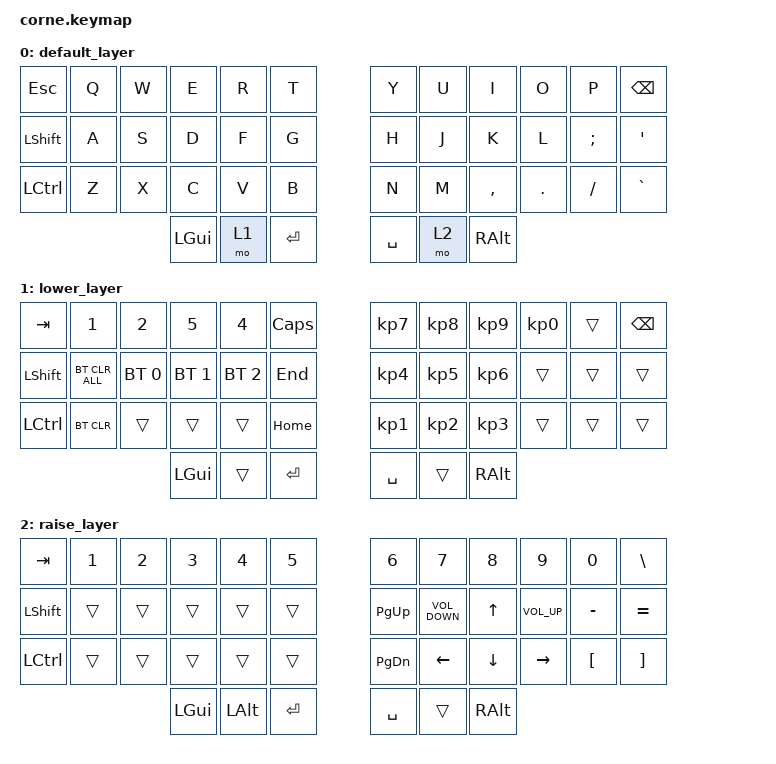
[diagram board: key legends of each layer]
/*
 * Copyright (c) 2020 The ZMK Contributors
 *
 * SPDX-License-Identifier: MIT
 */

#include <behaviors.dtsi>
#include <dt-bindings/zmk/bt.h>
#include <dt-bindings/zmk/keys.h>

/ {
    keymap {
        compatible = "zmk,keymap";

        default_layer {
            // -----------------------------------------------------------------------------------------
            // |  TAB |  Q  |  W  |  E  |  R  |  T  |   |  Y  |  U   |  I  |  O  |  P  | BSPC |
            // | CTRL |  A  |  S  |  D  |  F  |  G  |   |  H  |  J   |  K  |  L  |  ;  |  '   |
            // | SHFT |  Z  |  X  |  C  |  V  |  B  |   |  N  |  M   |  ,  |  .  |  /  | ESC  |
            //                    | GUI | LWR | SPC |   | ENT | RSE  | ALT |

            bindings = <
&kp ESCAPE      &kp Q  &kp W  &kp E     &kp R  &kp T        &kp Y      &kp U  &kp I      &kp O    &kp P     &kp BSPC
&kp LEFT_SHIFT  &kp A  &kp S  &kp D     &kp F  &kp G        &kp H      &kp J  &kp K      &kp L    &kp SEMI  &kp SQT
&kp LCTRL       &kp Z  &kp X  &kp C     &kp V  &kp B        &kp N      &kp M  &kp COMMA  &kp DOT  &kp FSLH  &kp GRAVE
                              &kp LGUI  &mo 1  &kp ENTER    &kp SPACE  &mo 2  &kp RALT
            >;
        };

        lower_layer {
            // -----------------------------------------------------------------------------------------
            // |  TAB |  1  |  2  |  3  |  4  |  5  |   |  6  |  7  |  8  |  9  |  0  | BSPC |
            // | BTCLR| BT1 | BT2 | BT3 | BT4 | BT5 |   | LFT | DWN |  UP | RGT |     |      |
            // | SHFT |     |     |     |     |     |   |     |     |     |     |     |      |
            //                    | GUI |     | SPC |   | ENT |     | ALT |

            bindings = <
&kp TAB         &kp N1          &kp N2        &kp N5        &kp N4        &kp CAPS     &kp KP_NUMBER_7  &kp KP_NUMBER_8  &kp KP_NUMBER_9  &kp KP_NUMBER_0  &trans  &kp BSPC
&kp LEFT_SHIFT  &bt BT_CLR_ALL  &bt BT_SEL 0  &bt BT_SEL 1  &bt BT_SEL 2  &kp END      &kp KP_NUMBER_4  &kp KP_NUMBER_5  &kp KP_NUMBER_6  &trans           &trans  &trans
&kp LCTRL       &bt BT_CLR      &trans        &trans        &trans        &kp HOME     &kp KP_NUMBER_1  &kp KP_NUMBER_2  &kp KP_NUMBER_3  &trans           &trans  &trans
                                              &kp LGUI      &trans        &kp ENTER    &kp SPACE        &trans           &kp RALT
            >;
        };

        raise_layer {
            // -----------------------------------------------------------------------------------------
            // |  TAB |  !  |  @  |  #  |  $  |  %  |   |  ^  |  &  |  *  |  (  |  )  | BSPC |
            // | CTRL |     |     |     |     |     |   |  -  |  =  |  [  |  ]  |  \  |  `   |
            // | SHFT |     |     |     |     |     |   |  _  |  +  |  {  |  }  | "|" |  ~   |
            //                    | GUI |     | SPC |   | ENT |     | ALT |

            bindings = <
&kp TAB         &kp NUMBER_1  &kp NUMBER_2  &kp NUMBER_3  &kp NUMBER_4  &kp N5       &kp NUMBER_6   &kp N7             &kp N8        &kp N9           &kp N0            &kp BACKSLASH
&kp LEFT_SHIFT  &trans        &trans        &trans        &trans        &trans       &kp PAGE_UP    &kp C_VOLUME_DOWN  &kp UP_ARROW  &kp C_VOLUME_UP  &kp MINUS         &kp EQUAL
&kp LCTRL       &trans        &trans        &trans        &trans        &trans       &kp PAGE_DOWN  &kp LEFT           &kp DOWN      &kp RIGHT        &kp LEFT_BRACKET  &kp RIGHT_BRACKET
                                            &kp LGUI      &kp LEFT_ALT  &kp ENTER    &kp SPACE      &trans             &kp RALT
            >;
        };
    };
};
